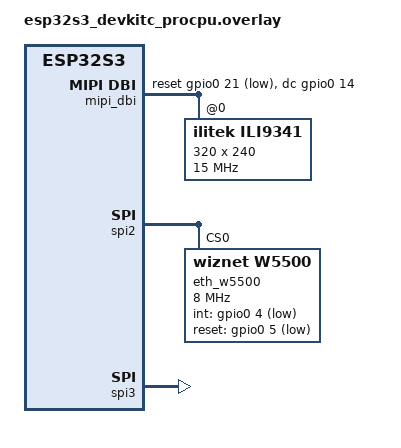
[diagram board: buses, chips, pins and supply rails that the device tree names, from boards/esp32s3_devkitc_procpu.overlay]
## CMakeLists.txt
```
cmake_minimum_required(VERSION 3.20.0)

# ESP32-S3-DevkitC is the default board
set(BOARD
    "esp32s3_devkitc/esp32s3/procpu"
    CACHE
    STRING
    "Board for the Zephyr application"
)

find_package(Zephyr REQUIRED HINTS $ENV{ZEPHYR_BASE})

project(mender-mcu-integration)

target_sources(app PRIVATE
    src/main.c
    src/utils/netup.c
    src/utils/certs.c
)

target_include_directories(app PUBLIC
    src
)

if(CONFIG_MENDER_APP_NOOP_UPDATE_MODULE MATCHES "y")
    target_sources(app PRIVATE src/modules/noop-update-module.c)
endif()

if(CONFIG_DISPLAY)
    target_sources(app PRIVATE src/utils/display.c)
endif()

# Self-signed CA certificate for docker.mender.io demo server
generate_inc_file_for_target(app
    "certs/docker-mender-io.cer"
    "${ZEPHYR_BINARY_DIR}/include/generated/docker-mender-io.cer.inc"
)

file(COPY_FILE "config-tls-mender.h" "${ZEPHYR_BINARY_DIR}/include/generated/config-tls-mender.h")

# Generate RGB565 logo header from PNG at build time
find_package(Python3 REQUIRED COMPONENTS Interpreter)

if(DEFINED ENV{MENDER_LOGO_FILE})
    set(LOGO_INPUT "${CMAKE_CURRENT_SOURCE_DIR}/$ENV{MENDER_LOGO_FILE}")
else()
    set(LOGO_INPUT "${CMAKE_CURRENT_SOURCE_DIR}/logo.png")
endif()
set(LOGO_OUTPUT "${ZEPHYR_BINARY_DIR}/include/generated/mender_logo.h")
set(LOGO_SCRIPT "${CMAKE_CURRENT_SOURCE_DIR}/scripts/png_to_rgb565.py")

add_custom_command(
    OUTPUT ${LOGO_OUTPUT}
    COMMAND ${Python3_EXECUTABLE} ${LOGO_SCRIPT}
        --input ${LOGO_INPUT}
        --output ${LOGO_OUTPUT}
        --width 280
        --height 94
        --swap-bytes
    DEPENDS ${LOGO_INPUT} ${LOGO_SCRIPT}
    COMMENT "Converting logo.png to RGB565 header"
)
add_custom_target(generate_logo DEPENDS ${LOGO_OUTPUT})
add_dependencies(app generate_logo)
```

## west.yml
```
manifest:

  remotes:
    - name: zephyrproject-rtos
      url-base: https://github.com/zephyrproject-rtos
    - name: mender
      url-base: https://github.com/mendersoftware
    # Fork carrying the SDRAM-staging fix for the artifact download on i.MX RT
    # (XIP from the same FlexSPI NOR as the MCUboot slots). Temporary until the
    # change is merged upstream, then point mender-mcu back to remote 'mender'.
    - name: theyoctojester
      url-base: https://github.com/TheYoctoJester

  projects:
    - name: zephyr
      remote: zephyrproject-rtos
      revision: v4.2.0
      import:
        name-allowlist:
          - cmsis_6
          - mbedtls
          - mcuboot
          - hal_nxp
          - hal_nordic
          - hal_espressif
    - name: mender-mcu
      remote: theyoctojester
      revision: sdram-stage-download
      path: modules/mender-mcu
      import: true

  self:
    path: mender-mcu-integration
```

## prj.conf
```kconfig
####################################
# Tenant Token - DO NOT COMMIT
####################################
CONFIG_MENDER_SERVER_TENANT_TOKEN="RoVWWYP927mqmMwE8QgAxG2v-MUBsXdiDeb-Poue9XM"


####################################
# Mender MCU
####################################
CONFIG_MENDER_MCU_CLIENT=y
CONFIG_MENDER_SCHEDULER_SEPARATE_WORK_QUEUE=y
# Inventory is enabled by default; no need for CONFIG_MENDER_CLIENT_INVENTORY
CONFIG_MENDER_LOG_LEVEL_INF=y
CONFIG_MENDER_ARTIFACT_NAME="ew2026-demo-v1.0"
# Demo polling intervals
CONFIG_MENDER_CLIENT_UPDATE_POLL_INTERVAL=5
CONFIG_MENDER_CLIENT_INVENTORY_REFRESH_INTERVAL=15
# On-premise demo server
CONFIG_MENDER_SERVER_HOST_ON_PREM=y
CONFIG_MENDER_SERVER_HOST="https://docker.mender.io"
CONFIG_MENDER_SERVER_DORMANT_CERTIFICATES=n


####################################
# Mbed-TLS module configuration
#
# NOTE: The docker.mender.io demo server uses an ECDSA P-256 self-signed
# certificate. The cipher suite config below covers this plus RSA for
# flexibility.
####################################
CONFIG_MBEDTLS=y
CONFIG_MBEDTLS_KEY_EXCHANGE_ECDHE_PSK_ENABLED=y
CONFIG_MBEDTLS_KEY_EXCHANGE_ECDHE_RSA_ENABLED=y
CONFIG_MBEDTLS_KEY_EXCHANGE_ECDHE_ECDSA_ENABLED=y
CONFIG_MBEDTLS_ECDH_C=y
CONFIG_MBEDTLS_ECDSA_C=y
CONFIG_MBEDTLS_ECP_C=y
CONFIG_MBEDTLS_ECP_DP_SECP256R1_ENABLED=y
CONFIG_MBEDTLS_ECP_DP_SECP384R1_ENABLED=y
CONFIG_MBEDTLS_ECP_NIST_OPTIM=y
CONFIG_MBEDTLS_CIPHER_CCM_ENABLED=y
CONFIG_MBEDTLS_CIPHER_GCM_ENABLED=y
CONFIG_MBEDTLS_SHA384=y
CONFIG_MBEDTLS_GENPRIME_ENABLED=y
CONFIG_MBEDTLS_PEM_CERTIFICATE_FORMAT=y
CONFIG_MBEDTLS_SERVER_NAME_INDICATION=y
CONFIG_MBEDTLS_PK_WRITE_C=y
CONFIG_MBEDTLS_SSL_MAX_CONTENT_LEN=16384
CONFIG_MBEDTLS_ENABLE_HEAP=y
CONFIG_MBEDTLS_HEAP_SIZE=34816
CONFIG_MBEDTLS_ENTROPY_POLL_ZEPHYR=y
CONFIG_MBEDTLS_ENTROPY_C=y

# We need to use our own extension to the config file to limit the size of the
# TLS output buffer. See the config and/or MEN-7807 for details.
CONFIG_MBEDTLS_USER_CONFIG_ENABLE=y
CONFIG_MBEDTLS_USER_CONFIG_FILE="config-tls-mender.h"


####################################
# Zephyr OS general configuration
####################################
# Default is 1024
# https://docs.zephyrproject.org/latest/kconfig.html#CONFIG_MAIN_STACK_SIZE
CONFIG_MAIN_STACK_SIZE=2048
# Default is 1024
# https://docs.zephyrproject.org/latest/kconfig.html#CONFIG_SYSTEM_WORKQUEUE_STACK_SIZE
CONFIG_SYSTEM_WORKQUEUE_STACK_SIZE=4096
# Default is 4
# https://docs.zephyrproject.org/latest/kconfig.html#CONFIG_ZVFS_OPEN_MAX
CONFIG_ZVFS_OPEN_MAX=8
# Hardware watchdog — auto-reboot on system hang
CONFIG_WATCHDOG=y
CONFIG_WDT_DISABLE_AT_BOOT=n

####################################
# Zephyr logging
####################################
CONFIG_LOG=y
# CONFIG_LOG_MODE_IMMEDIATE=y
CONFIG_LOG_MODE_DEFERRED=y
# flush oldest messages in the buffer; this will print the newest messages in case of buffer overflow
CONFIG_LOG_MODE_OVERFLOW=y
# speed up the logging; size of the executable the victim (use for testing only)
CONFIG_LOG_SPEED=y


####################################
# Networking
####################################
# IP / DHCP
CONFIG_NET_IPV6=n
CONFIG_NET_IPV4=y
CONFIG_NET_DHCPV4=y
# Network event notifications
CONFIG_NET_MGMT=y
CONFIG_NET_MGMT_EVENT=y
CONFIG_NET_L2_ETHERNET_MGMT=y
CONFIG_NET_MGMT_EVENT_STACK_SIZE=2048
# Enable TLS
CONFIG_NET_SOCKETS_SOCKOPT_TLS=y
CONFIG_NET_SOCKETS_TLS_MAX_CONTEXTS=4
CONFIG_NET_MAX_CONN=16
# DNS configuration
CONFIG_DNS_RESOLVER_ADDITIONAL_BUF_CTR=5
CONFIG_DNS_RESOLVER_ADDITIONAL_QUERIES=2
CONFIG_DNS_RESOLVER_MAX_SERVERS=2
CONFIG_DNS_NUM_CONCUR_QUERIES=5
# Network buffer pools — sized for TLS traffic (1500-byte frames need ~12 x 128-byte bufs)
CONFIG_NET_PKT_RX_COUNT=20
CONFIG_NET_PKT_TX_COUNT=20
CONFIG_NET_BUF_RX_COUNT=64
CONFIG_NET_BUF_TX_COUNT=64
# ARP table — default 2 causes thrashing with gateway + DNS + Mender server
CONFIG_NET_ARP_TABLE_SIZE=8
# Network statistics — makes dropped packets and alloc failures visible in logs
CONFIG_NET_STATISTICS=y
# Avoid timeouts before recieving SYN-ACK from peer at default value (3000)
CONFIG_NET_SOCKETS_CONNECT_TIMEOUT=5000

####################################
# Developer zone
####################################
# Coredumps
# https://docs.zephyrproject.org/latest/services/debugging/coredump.html
# CONFIG_DEBUG_COREDUMP=y
# CONFIG_DEBUG_COREDUMP_BACKEND_LOGGING=y
# CONFIG_DEBUG_COREDUMP_MEMORY_DUMP_LINKER_RAM=n
# CONFIG_DEBUG_COREDUMP_MEMORY_DUMP_MIN=y
# Asserts
# https://docs.zephyrproject.org/latest/kconfig.html#CONFIG_ASSERT_VERBOSE
CONFIG_ASSERT=y
# CONFIG_ASSERT_VERBOSE=y
# CONFIG_PICOLIBC_USE_MODULE=y
# CONFIG_PICOLIBC_ASSERT_VERBOSE=y
# Useful logs from networking subsystem
CONFIG_NET_LOG=y
```

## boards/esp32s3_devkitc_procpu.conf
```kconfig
####################################
# W5500 Ethernet (instead of WiFi)
####################################
CONFIG_WIFI=n
CONFIG_SPI=y
CONFIG_NET_L2_ETHERNET=y
CONFIG_ETH_W5500=y
CONFIG_ETH_W5500_TIMEOUT=1000
CONFIG_ETH_W5500_RX_THREAD_STACK_SIZE=2048

####################################
# LED strip disabled
####################################
CONFIG_LED_STRIP=n

####################################
# ILI9341 Display
####################################
CONFIG_DISPLAY=y
CONFIG_MIPI_DBI=y
CONFIG_ILI9341=y
CONFIG_HEAP_MEM_POOL_SIZE=16384

####################################
# Mender storage - use existing storage_partition
####################################
CONFIG_MENDER_STORAGE_PARTITION_STORAGE_PARTITION=y

####################################
# Mender deployment logs require ISO8601 timestamps
####################################
CONFIG_LOG_OUTPUT_FORMAT_ISO8601_TIMESTAMP=y
```

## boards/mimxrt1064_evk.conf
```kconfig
####################################
# NXP i.MX RT1064-EVK — onboard Ethernet
####################################
# ENET MAC + Microchip KSZ8081 PHY (RMII). The ETH_NXP_ENET driver auto-enables
# from devicetree (enet_mac node is "okay"); we only need the Ethernet L2 here.
# IPv4 / DHCPv4 / TLS come from the application prj.conf.
CONFIG_NET_L2_ETHERNET=y

# Stable hardware unique ID — basis for a persistent Mender device identity.
CONFIG_HWINFO=y

# Networking tuning for the Mender artifact download (TLS, ~340KB from
# Cloudflare R2). Two distinct limits had to be raised:
#
# 1) NXP ENET DMA ring: defaults are only 6 RX / 1 TX buffers. Cloudflare bursts
#    at line rate, instantly exhausting 6 RX descriptors -> the MAC drops frames
#    -> Zephyr TCP loses segments and the transfer hard-stalls (~100-200KB in,
#    then a ~60s hang and DNS wedge). These are the real bottleneck; the higher
#    net_buf pool below is downstream and cannot help if the DMA ring overflows.
#    Max allowed by the driver is 16.
CONFIG_ETH_NXP_ENET_RX_BUFFERS=16
CONFIG_ETH_NXP_ENET_TX_BUFFERS=8
#
# 2) TCP window / net_buf pool: board defaults derive a ~1536-byte window, far
#    too small for the TLS handshake + download (it fails at offset 0). Keep the
#    recv window matched to what the 16 RX buffers can absorb to avoid re-drops.
CONFIG_NET_PKT_RX_COUNT=40
CONFIG_NET_PKT_TX_COUNT=40
CONFIG_NET_BUF_RX_COUNT=120
CONFIG_NET_BUF_TX_COUNT=120
CONFIG_NET_BUF_DATA_SIZE=256
CONFIG_NET_TCP_MAX_RECV_WINDOW_SIZE=8192
CONFIG_NET_TCP_MAX_SEND_WINDOW_SIZE=8192
# More DNS query slots: the download reconnects per chunk; a single slot wedges
# (EAI_CANCELED) once a connection stalls.
CONFIG_DNS_NUM_CONCUR_QUERIES=4
```

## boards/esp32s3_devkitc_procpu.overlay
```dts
#include <zephyr/dt-bindings/display/ili9xxx.h>

/* W5500 Ethernet on SPI2 - uses hardware CS (GPIO10) */
&spi2 {
	status = "okay";

	eth_w5500: eth_w5500@0 {
		compatible = "wiznet,w5500";
		reg = <0x0>;
		spi-max-frequency = <8000000>;
		int-gpios = <&gpio0 4 GPIO_ACTIVE_LOW>;
		reset-gpios = <&gpio0 5 GPIO_ACTIVE_LOW>;

		status = "okay";
	};
};

/* ILI9341 Display on SPI3 */
&spi3 {
	status = "okay";
	cs-gpios = <&gpio0 15 GPIO_ACTIVE_LOW>;  /* ILI9341 CS */
};

&esp32_bt_hci {
	status = "disabled";
};

/ {
	chosen {
		zephyr,display = &ili9341;
	};

	/* MIPI-DBI controller for ILI9341 on SPI3 */
	mipi_dbi {
		compatible = "zephyr,mipi-dbi-spi";
		spi-dev = <&spi3>;
		dc-gpios = <&gpio0 14 GPIO_ACTIVE_HIGH>;
		reset-gpios = <&gpio0 21 GPIO_ACTIVE_LOW>;
		write-only;
		#address-cells = <1>;
		#size-cells = <0>;

		ili9341: ili9341@0 {
			compatible = "ilitek,ili9341";
			reg = <0>;
			mipi-max-frequency = <15000000>;
			width = <320>;
			height = <240>;
			pixel-format = <ILI9XXX_PIXEL_FORMAT_RGB565>;
			rotation = <270>;
		};
	};
};
```

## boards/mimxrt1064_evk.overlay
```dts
/*
 * NXP i.MX RT1064-EVK overlay for the Mender MCU integration.
 *
 * The in-tree board DTS sets `zephyr,random-mac-address`, so the MAC — and any
 * MAC-derived Mender device identity — changes on every boot, causing the device
 * to re-register as a new device each time. Pin a fixed, locally-administered MAC
 * (first octet 0x02 = locally administered, unicast) for a stable identity.
 */

&enet_mac {
	/delete-property/ zephyr,random-mac-address;
	local-mac-address = [02 11 64 00 00 02];
};
```

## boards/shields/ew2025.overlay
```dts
/* This overlay is based on ARCELI W5500 ETH,
 * changing the pinout for the WIZNet produced shield.
 *
 * See schematic at:
 * https://docs.wiznet.io/Product/Open-Source-Hardware/w5500_ethernet_shield#technical-reference
 */

#include <zephyr/dt-bindings/led/led.h>

&spi2 {
	status = "okay";

	eth_w5500: eth_w5500@0 {
        compatible = "wiznet,w5500";
		reg = <0x0>;
        spi-max-frequency = <8000000>;
		int-gpios = <&gpio0 4 GPIO_ACTIVE_LOW>;
		reset-gpios = <&gpio0 5 GPIO_ACTIVE_LOW>;

		/* *************************** */
		/* Write here your MAC address */
		/* *************************** */
        local-mac-address = [00 08 DC 01 02 03];
		status = "okay";
	};
};

&spi3 {
	/* Workaround to support WS2812 driver */
	line-idle-low;
	status = "okay";

	led_strip: ws2812@0 {
		compatible = "worldsemi,ws2812-spi";
		status = "okay";

		reg = <0>;
		spi-max-frequency = <6400000>;

		chain-length = <64>;
		spi-cpha;
		spi-one-frame = <0xf0>;
		spi-zero-frame = <0xc0>;
		color-mapping = <LED_COLOR_ID_GREEN
							LED_COLOR_ID_RED
							LED_COLOR_ID_BLUE>;
	};
};

/ {
	aliases {
			led-strip = &led_strip;
	};
};
```

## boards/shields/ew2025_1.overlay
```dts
/* This overlay is based on ARCELI W5500 ETH,
 * changing the pinout for the WIZNet produced shield.
 *
 * See schematic at:
 * https://docs.wiznet.io/Product/Open-Source-Hardware/w5500_ethernet_shield#technical-reference
 */

#include <zephyr/dt-bindings/led/led.h>

&spi2 {
	status = "okay";

	eth_w5500: eth_w5500@0 {
        compatible = "wiznet,w5500";
		reg = <0x0>;
        spi-max-frequency = <8000000>;
		int-gpios = <&gpio0 4 GPIO_ACTIVE_LOW>;
		reset-gpios = <&gpio0 5 GPIO_ACTIVE_LOW>;

        local-mac-address = [00 08 DC 01 02 01];
		status = "okay";
	};
};

&spi3 {
	/* Workaround to support WS2812 driver */
	line-idle-low;
	status = "okay";

	led_strip: ws2812@0 {
		compatible = "worldsemi,ws2812-spi";
		status = "okay";

		reg = <0>;
		spi-max-frequency = <6400000>;

		chain-length = <64>;
		spi-cpha;
		spi-one-frame = <0xf0>;
		spi-zero-frame = <0xc0>;
		color-mapping = <LED_COLOR_ID_GREEN
							LED_COLOR_ID_RED
							LED_COLOR_ID_BLUE>;
	};
};

/ {
	aliases {
			led-strip = &led_strip;
	};
};
```

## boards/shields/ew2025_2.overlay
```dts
/* This overlay is based on ARCELI W5500 ETH,
 * changing the pinout for the WIZNet produced shield.
 *
 * See schematic at:
 * https://docs.wiznet.io/Product/Open-Source-Hardware/w5500_ethernet_shield#technical-reference
 */

#include <zephyr/dt-bindings/led/led.h>

&spi2 {
	status = "okay";

	eth_w5500: eth_w5500@0 {
        compatible = "wiznet,w5500";
		reg = <0x0>;
        spi-max-frequency = <8000000>;
		int-gpios = <&gpio0 4 GPIO_ACTIVE_LOW>;
		reset-gpios = <&gpio0 5 GPIO_ACTIVE_LOW>;

        local-mac-address = [00 08 DC 01 02 02];
		status = "okay";
	};
};

&spi3 {
	/* Workaround to support WS2812 driver */
	line-idle-low;
	status = "okay";

	led_strip: ws2812@0 {
		compatible = "worldsemi,ws2812-spi";
		status = "okay";

		reg = <0>;
		spi-max-frequency = <6400000>;

		chain-length = <64>;
		spi-cpha;
		spi-one-frame = <0xf0>;
		spi-zero-frame = <0xc0>;
		color-mapping = <LED_COLOR_ID_GREEN
							LED_COLOR_ID_RED
							LED_COLOR_ID_BLUE>;
	};
};

/ {
	aliases {
			led-strip = &led_strip;
	};
};
```

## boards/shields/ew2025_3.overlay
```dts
/* This overlay is based on ARCELI W5500 ETH,
 * changing the pinout for the WIZNet produced shield.
 *
 * See schematic at:
 * https://docs.wiznet.io/Product/Open-Source-Hardware/w5500_ethernet_shield#technical-reference
 */

#include <zephyr/dt-bindings/led/led.h>

&spi2 {
	status = "okay";

	eth_w5500: eth_w5500@0 {
        compatible = "wiznet,w5500";
		reg = <0x0>;
        spi-max-frequency = <8000000>;
		int-gpios = <&gpio0 4 GPIO_ACTIVE_LOW>;
		reset-gpios = <&gpio0 5 GPIO_ACTIVE_LOW>;

        local-mac-address = [00 08 DC 01 02 03];
		status = "okay";
	};
};

&spi3 {
	/* Workaround to support WS2812 driver */
	line-idle-low;
	status = "okay";

	led_strip: ws2812@0 {
		compatible = "worldsemi,ws2812-spi";
		status = "okay";

		reg = <0>;
		spi-max-frequency = <6400000>;

		chain-length = <64>;
		spi-cpha;
		spi-one-frame = <0xf0>;
		spi-zero-frame = <0xc0>;
		color-mapping = <LED_COLOR_ID_GREEN
							LED_COLOR_ID_RED
							LED_COLOR_ID_BLUE>;
	};
};

/ {
	aliases {
			led-strip = &led_strip;
	};
};
```

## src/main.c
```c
// Copyright 2024 Northern.tech AS
//
//    Licensed under the Apache License, Version 2.0 (the "License");
//    you may not use this file except in compliance with the License.
//    You may obtain a copy of the License at
//
//        http://www.apache.org/licenses/LICENSE-2.0
//
//    Unless required by applicable law or agreed to in writing, software
//    distributed under the License is distributed on an "AS IS" BASIS,
//    WITHOUT WARRANTIES OR CONDITIONS OF ANY KIND, either express or implied.
//    See the License for the specific language governing permissions and
//    limitations under the License.

#include <zephyr/logging/log.h>
LOG_MODULE_REGISTER(mender_app, LOG_LEVEL_DBG);

#include "utils/netup.h"
#include "utils/certs.h"

#include <zephyr/kernel.h>
#include <zephyr/sys/reboot.h>
#include <zephyr/drivers/watchdog.h>

#include "mender/client.h"

#ifdef CONFIG_DISPLAY
#include "utils/display.h"
#endif

#define SLEEP_TIME_MS 1000
#define FOOTER_UPDATE_INTERVAL_MS 1000
#define WDT_TIMEOUT_MS 30000

static const struct device *const wdt_dev = DEVICE_DT_GET(DT_ALIAS(watchdog0));
static int wdt_channel_id = -1;

#ifdef CONFIG_MENDER_ZEPHYR_IMAGE_UPDATE_MODULE
#include <mender/zephyr-image-update-module.h>
#endif /* CONFIG_MENDER_ZEPHYR_IMAGE_UPDATE_MODULE */

#ifdef CONFIG_MENDER_APP_NOOP_UPDATE_MODULE
#include "modules/noop-update-module.h"
#endif /* CONFIG_MENDER_APP_NOOP_UPDATE_MODULE */

/* Client state tracking */
static const char *client_state = "Init";
static bool state_changed = false;

#ifdef CONFIG_DISPLAY
static void update_footer(void)
{
    char ip_buf[16];
    display_get_ip_string(ip_buf, sizeof(ip_buf));
    display_update_footer(CONFIG_MENDER_ARTIFACT_NAME, ip_buf, client_state);
}
#endif

static void set_client_state(const char *new_state)
{
    if (client_state != new_state) {
        client_state = new_state;
        state_changed = true;
        LOG_INF("Client state: %s", client_state);
#ifdef CONFIG_DISPLAY
        update_footer();
#endif
    }
}

static mender_err_t
network_connect_cb(void) {
    LOG_DBG("network_connect_cb");
    return MENDER_OK;
}

static mender_err_t
network_release_cb(void) {
    LOG_DBG("network_release_cb");
    return MENDER_OK;
}

static mender_err_t
deployment_status_cb(mender_deployment_status_t status, const char *desc) {
    LOG_DBG("deployment_status_cb: %s", desc);

    switch (status) {
    case MENDER_DEPLOYMENT_STATUS_DOWNLOADING:
        set_client_state("Downloading");
        break;
    case MENDER_DEPLOYMENT_STATUS_INSTALLING:
        set_client_state("Installing");
        break;
    case MENDER_DEPLOYMENT_STATUS_REBOOTING:
        set_client_state("Rebooting");
        break;
    case MENDER_DEPLOYMENT_STATUS_SUCCESS:
        set_client_state("Success");
        break;
    case MENDER_DEPLOYMENT_STATUS_FAILURE:
        set_client_state("Failed");
        break;
    default:
        break;
    }

    return MENDER_OK;
}

static mender_err_t
restart_cb(void) {
    LOG_DBG("restart_cb");

    sys_reboot(SYS_REBOOT_WARM);

    return MENDER_OK;
}

static char              mac_address[18] = { 0 };
static mender_identity_t mender_identity = { .name = "mac", .value = mac_address };

static mender_err_t
get_identity_cb(const mender_identity_t **identity) {
    LOG_DBG("get_identity_cb");
    if (NULL != identity) {
        *identity = &mender_identity;
        return MENDER_OK;
    }
    return MENDER_FAIL;
}

int
main(void) {

#ifdef CONFIG_DISPLAY
    if (display_init() == 0) {
        display_logo();
        update_footer();
    }
#endif

    /* Initialize hardware watchdog */
    if (!device_is_ready(wdt_dev)) {
        LOG_ERR("Watchdog device not ready");
    } else {
        struct wdt_timeout_cfg wdt_cfg = {
            .window.min = 0,
            .window.max = WDT_TIMEOUT_MS,
            .callback = NULL,
            .flags = WDT_FLAG_RESET_SOC,
        };
        wdt_channel_id = wdt_install_timeout(wdt_dev, &wdt_cfg);
        if (wdt_channel_id < 0) {
            LOG_ERR("Watchdog install failed: %d", wdt_channel_id);
        } else if (wdt_setup(wdt_dev, WDT_OPT_PAUSE_HALTED_BY_DBG) != 0) {
            LOG_ERR("Watchdog setup failed");
            wdt_channel_id = -1;
        } else {
            LOG_INF("Watchdog started (%d ms timeout)", WDT_TIMEOUT_MS);
        }
    }

    set_client_state("Net wait");
    LOG_INF("Initializing network...");
    netup_wait_for_network();

    netup_get_mac_address(mender_identity.value);

    certs_add_credentials();

#ifdef CONFIG_DISPLAY
    /* Update footer now that we have an IP */
    update_footer();
#endif

    LOG_INF("Initializing Mender Client with:");
    LOG_INF("   Device type:   '%s'", CONFIG_MENDER_DEVICE_TYPE);
    LOG_INF("   Identity:      '{\"%s\": \"%s\"}'", mender_identity.name, mender_identity.value);

    set_client_state("Starting");

    /* Initialize mender-client */
    mender_client_config_t    mender_client_config    = { .device_type = NULL, .recommissioning = false };
    mender_client_callbacks_t mender_client_callbacks = { .network_connect        = network_connect_cb,
                                                          .network_release        = network_release_cb,
                                                          .deployment_status      = deployment_status_cb,
                                                          .restart                = restart_cb,
                                                          .get_identity           = get_identity_cb,
                                                          .get_user_provided_keys = NULL };

    if (MENDER_OK != mender_client_init(&mender_client_config, &mender_client_callbacks)) {
        LOG_ERR("Failed to initialize the client");
        set_client_state("Error");
        goto END;
    }
    LOG_INF("Mender client initialized");

#ifdef CONFIG_MENDER_ZEPHYR_IMAGE_UPDATE_MODULE
    if (MENDER_OK != mender_zephyr_image_register_update_module()) {
        LOG_ERR("Failed to register the zephyr-image Update Module");
        set_client_state("Error");
        goto END;
    }
    LOG_INF("Update Module 'zephyr-image' initialized");
#endif /* CONFIG_MENDER_ZEPHYR_IMAGE_UPDATE_MODULE */

#ifdef CONFIG_MENDER_APP_NOOP_UPDATE_MODULE
    if (MENDER_OK != noop_update_module_register()) {
        LOG_ERR("Failed to register the noop Update Module");
        set_client_state("Error");
        goto END;
    }
    LOG_INF("Update Module 'noop-update' initialized");
#endif /* CONFIG_MENDER_APP_NOOP_UPDATE_MODULE */

    /* Finally activate mender client */
    if (MENDER_OK != mender_client_activate()) {
        LOG_ERR("Unable to activate the client");
        set_client_state("Error");
        goto END;
    }
    LOG_INF("Mender client activated and running!");

    set_client_state("Idle");

#ifdef CONFIG_DISPLAY
    uint32_t footer_timer = 0;
#endif

    while (1) {
        k_msleep(SLEEP_TIME_MS);

        if (wdt_channel_id >= 0) {
            wdt_feed(wdt_dev, wdt_channel_id);
        }

#ifdef CONFIG_DISPLAY
        /* Periodically refresh footer to catch IP changes */
        footer_timer += SLEEP_TIME_MS;
        if (footer_timer >= FOOTER_UPDATE_INTERVAL_MS) {
            footer_timer = 0;
            display_toggle_heartbeat();
            update_footer();
        }
#endif
    }

END:
    k_sleep(K_FOREVER);

    return 0;
}
```

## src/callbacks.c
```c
// Copyright 2024 Northern.tech AS
//
//    Licensed under the Apache License, Version 2.0 (the "License");
//    you may not use this file except in compliance with the License.
//    You may obtain a copy of the License at
//
//        http://www.apache.org/licenses/LICENSE-2.0
//
//    Unless required by applicable law or agreed to in writing, software
//    distributed under the License is distributed on an "AS IS" BASIS,
//    WITHOUT WARRANTIES OR CONDITIONS OF ANY KIND, either express or implied.
//    See the License for the specific language governing permissions and
//    limitations under the License.

#include "utils/callbacks.h"
#include "utils/netup.h"

#include <zephyr/logging/log.h>
#include <zephyr/sys/reboot.h>

#include <mender/utils.h>
#include <mender/client.h>
#include <mender/inventory.h>

LOG_MODULE_DECLARE(mender_app, LOG_LEVEL_DBG);

MENDER_FUNC_WEAK mender_err_t
mender_network_connect_cb(void) {
    LOG_DBG("network_connect_cb");
    return MENDER_OK;
}

MENDER_FUNC_WEAK mender_err_t
mender_network_release_cb(void) {
    LOG_DBG("network_release_cb");
    return MENDER_OK;
}

MENDER_FUNC_WEAK mender_err_t
mender_deployment_status_cb(mender_deployment_status_t status, const char *desc) {
    LOG_DBG("deployment_status_cb: %s", desc);
    return MENDER_OK;
}

MENDER_FUNC_WEAK mender_err_t
mender_restart_cb(void) {
    LOG_DBG("restart_cb");

    sys_reboot(SYS_REBOOT_WARM);

    return MENDER_OK;
}

static char              mac_address[18] = { 0 };
static mender_identity_t mender_identity = { .name = "mac", .value = mac_address };

MENDER_FUNC_WEAK mender_err_t
mender_get_identity_cb(const mender_identity_t **identity) {
    LOG_DBG("get_identity_cb");
    if (NULL != identity) {
        *identity = &mender_identity;
        return MENDER_OK;
    }
    return MENDER_FAIL;
}

mender_err_t
persistent_inventory_cb(mender_keystore_t **keystore, uint8_t *keystore_len) {
    static mender_keystore_t inventory[] = {
        { .name = "App", .value = "mender-mcu-integration" },
        { .name = "Network", .value = "W5500-Ethernet" },
        { .name = "Display", .value = "ILI9341-320x240" }
    };
    *keystore                            = inventory;
    *keystore_len                        = 3;
    return MENDER_OK;
}

char *get_mender_identity_value(void) {
    return mender_identity.value;
}
```
